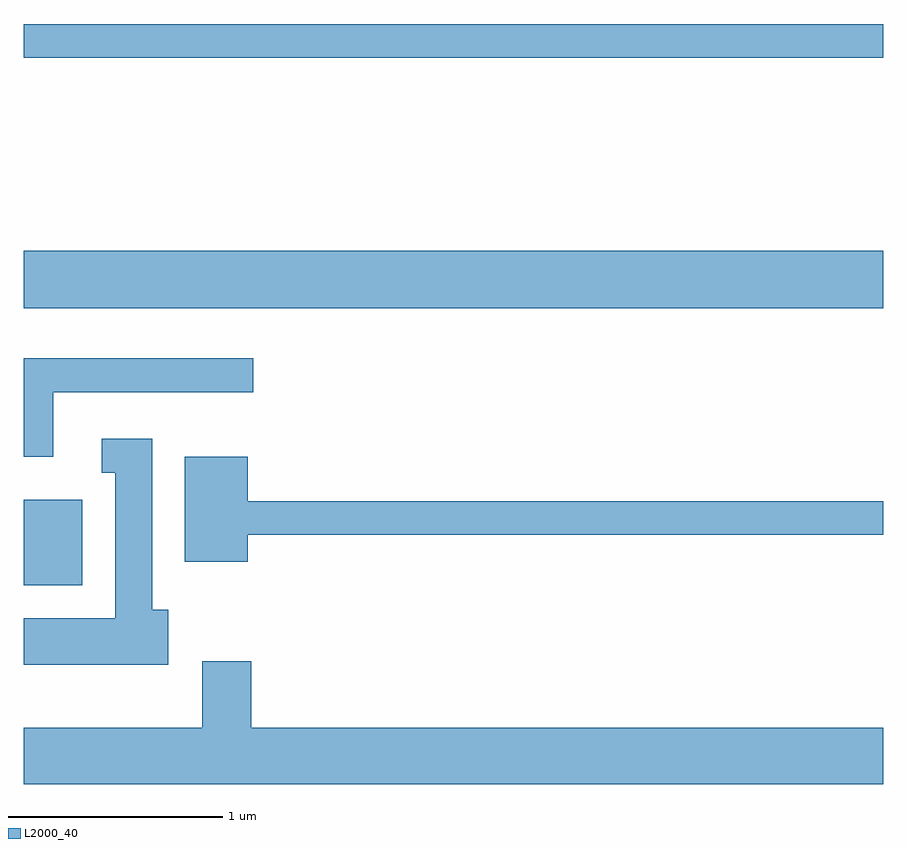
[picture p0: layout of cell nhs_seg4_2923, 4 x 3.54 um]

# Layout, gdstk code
import gdstk
lib = gdstk.Library(unit=1e-6, precision=1e-09)
def R(c, l, rs):  # rectangles x0, y0, x1, y1
    for r in rs: c.add(gdstk.rectangle(r[:2], r[2:], *l))
def P(c, l, *ps):  # polygons
    for p in ps: c.add(gdstk.Polygon(p, *l))
L2000_40 = (2000, 40)

nhs_seg4_2923 = lib.new_cell('nhs_seg4_2923')
R(nhs_seg4_2923, L2000_40, [(269.611,1388.906,269.884,1389.304), (269.611,1390.196,273.611,1390.464), (269.611,1391.361,273.611,1391.519)])
P(nhs_seg4_2923, L2000_40, [(269.749,1389.806),(270.678,1389.806),(270.678,1389.964),(269.611,1389.964),(269.611,1389.506),(269.749,1389.506)],
  [(270.284,1388.794),(270.209,1388.794),(270.209,1389.589),(269.973,1389.589),(269.973,1389.431),(270.036,1389.431),(270.036,1388.754),(269.611,1388.754),(269.611,1388.536),(270.284,1388.536)],
  [(270.654,1389.141),(273.611,1389.141),(273.611,1389.299),(270.654,1389.299),(270.654,1389.504),(270.361,1389.504),(270.361,1389.016),(270.654,1389.016)],
  [(273.611,1388.244),(270.669,1388.244),(270.669,1388.554),(270.441,1388.554),(270.441,1388.244),(269.611,1388.244),(269.611,1387.982),(273.611,1387.982)])

lib.write_gds('nhs_seg4_2923.gds')
